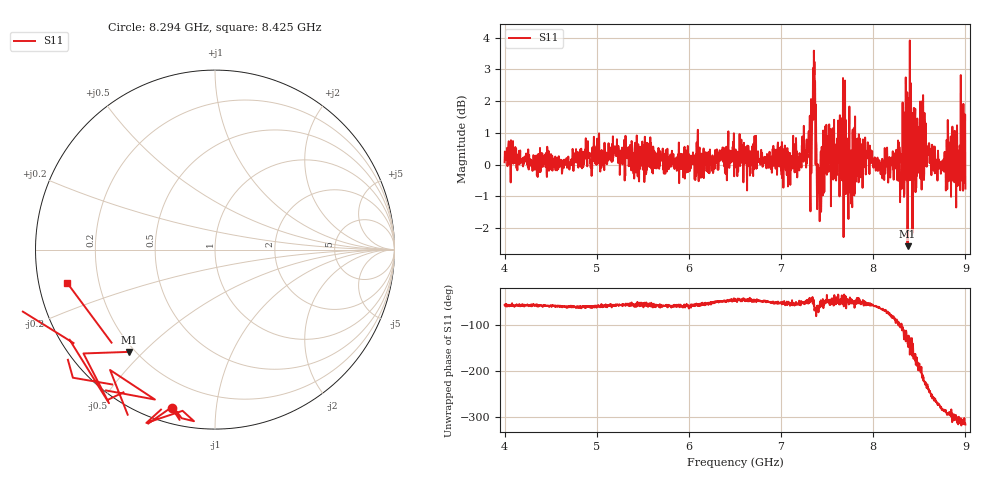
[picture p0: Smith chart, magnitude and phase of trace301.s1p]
! Created with skrf 1.8.0 (http://scikit-rf.org).
# Hz S RI R 50.0
!freq ReS11 ImS11
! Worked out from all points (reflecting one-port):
!   1601 points, 4 GHz to 9 GHz, reference 50 ohm
!   lowest |S11| = -2.6 dB at 8.372 GHz (marker M1), VSWR 6.82, Z = 8.88 - j22.7 ohm
!   phase of S11 starts at -56 deg and turns -261 deg over the sweep
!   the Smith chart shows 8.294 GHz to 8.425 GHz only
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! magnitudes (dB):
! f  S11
! 4 GHz  0.1
! 4.625 GHz  -0.2
! 5.25 GHz  -0.3
! 5.875 GHz  -0.1
! 6.5 GHz  0.4
! 7.125 GHz  -0.1
! 7.306 GHz  0.4
! 7.359 GHz  2.8
! 7.397 GHz  -0.7
! 7.412 GHz  -0.9
! 7.481 GHz  -0.1
! 7.578 GHz  0.0
! 7.631 GHz  0.8
! 7.75 GHz  0.1
! 7.928 GHz  0.3
! 8.316 GHz  -0.5
! 8.334 GHz  -1.0
! 8.356 GHz  1.9
! 8.372 GHz  -2.6
! 8.375 GHz  -0.6
! 8.447 GHz  1.8
! 8.459 GHz  -0.9
! 8.553 GHz  -0.3
! 8.744 GHz  -0.2
! 8.872 GHz  1.0
! 8.922 GHz  -0.3
! 8.972 GHz  0.2
! 9 GHz  -0.8
